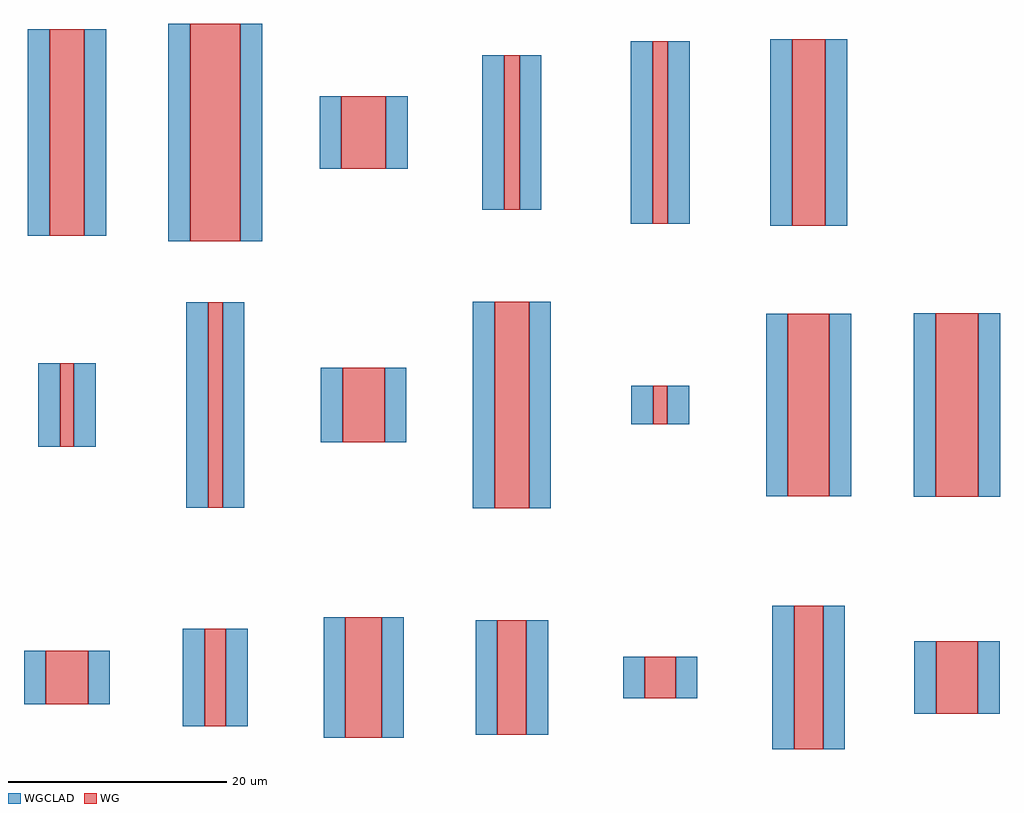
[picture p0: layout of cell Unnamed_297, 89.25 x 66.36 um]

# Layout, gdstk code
from math import pi, radians
import gdstk
lib = gdstk.Library(unit=1e-6, precision=1e-09)
def R(c, l, rs):  # rectangles x0, y0, x1, y1
    for r in rs: c.add(gdstk.rectangle(r[:2], r[2:], *l))
WG = (1, 0)
WGCLAD = (111, 0)

straight_w3030_l17024_lw = lib.new_cell('straight_W3030_L17024_LWG_EWGSTD')
R(straight_w3030_l17024_lw, WG, [(0,-1.515,17.024,1.515)])
R(straight_w3030_l17024_lw, WGCLAD, [(0,-3.515,17.024,-1.515), (0,1.515,17.024,3.515)])

straight_w1398_l16701_lw = lib.new_cell('straight_W1398_L16701_LWG_EWGSTD')
R(straight_w1398_l16701_lw, WG, [(0,-0.699,16.701,0.699)])
R(straight_w1398_l16701_lw, WGCLAD, [(0,-2.699,16.701,-0.699), (0,0.699,16.701,2.699)])

straight_w1392_l14142_lw = lib.new_cell('straight_W1392_L14142_LWG_EWGSTD')
R(straight_w1392_l14142_lw, WG, [(0,-0.696,14.142,0.696)])
R(straight_w1392_l14142_lw, WGCLAD, [(0,-2.696,14.142,-0.696), (0,0.696,14.142,2.696)])

straight_w4060_l6600_lwg = lib.new_cell('straight_W4060_L6600_LWG_EWGSTD')
R(straight_w4060_l6600_lwg, WG, [(0,-2.03,6.6,2.03)])
R(straight_w4060_l6600_lwg, WGCLAD, [(0,-4.03,6.6,-2.03), (0,2.03,6.6,4.03)])

straight_w3194_l18912_lw = lib.new_cell('straight_W3194_L18912_LWG_EWGSTD')
R(straight_w3194_l18912_lw, WG, [(0,-1.597,18.912,1.597)])
R(straight_w3194_l18912_lw, WGCLAD, [(0,-3.597,18.912,-1.597), (0,1.597,18.912,3.597)])

straight_w3882_l16749_lw = lib.new_cell('straight_W3882_L16749_LWG_EWGSTD')
R(straight_w3882_l16749_lw, WG, [(0,-1.941,16.749,1.941)])
R(straight_w3882_l16749_lw, WGCLAD, [(0,-3.941,16.749,-1.941), (0,1.941,16.749,3.941)])

straight_w3318_l10997_lw = lib.new_cell('straight_W3318_L10997_LWG_EWGSTD')
R(straight_w3318_l10997_lw, WG, [(0,-1.659,10.997,1.659)])
R(straight_w3318_l10997_lw, WGCLAD, [(0,-3.659,10.997,-1.659), (0,1.659,10.997,3.659)])

straight_w3792_l6651_lwg = lib.new_cell('straight_W3792_L6651_LWG_EWGSTD')
R(straight_w3792_l6651_lwg, WG, [(0,-1.896,6.651,1.896)])
R(straight_w3792_l6651_lwg, WGCLAD, [(0,-3.896,6.651,-1.896), (0,1.896,6.651,3.896)])

straight_w1264_l7607_lwg = lib.new_cell('straight_W1264_L7607_LWG_EWGSTD')
R(straight_w1264_l7607_lwg, WG, [(0,-0.632,7.607,0.632)])
R(straight_w1264_l7607_lwg, WGCLAD, [(0,-2.632,7.607,-0.632), (0,0.632,7.607,2.632)])

straight_w4564_l19916_lw = lib.new_cell('straight_W4564_L19916_LWG_EWGSTD')
R(straight_w4564_l19916_lw, WG, [(0,-2.282,19.916,2.282)])
R(straight_w4564_l19916_lw, WGCLAD, [(0,-4.282,19.916,-2.282), (0,2.282,19.916,4.282)])

straight_w2792_l3821_lwg = lib.new_cell('straight_W2792_L3821_LWG_EWGSTD')
R(straight_w2792_l3821_lwg, WG, [(0,-1.396,3.821,1.396)])
R(straight_w2792_l3821_lwg, WGCLAD, [(0,-3.396,3.821,-1.396), (0,1.396,3.821,3.396)])

straight_w1944_l8928_lwg = lib.new_cell('straight_W1944_L8928_LWG_EWGSTD')
R(straight_w1944_l8928_lwg, WG, [(0,-0.972,8.928,0.972)])
R(straight_w1944_l8928_lwg, WGCLAD, [(0,-2.972,8.928,-0.972), (0,0.972,8.928,2.972)])

straight_w1330_l18753_lw = lib.new_cell('straight_W1330_L18753_LWG_EWGSTD')
R(straight_w1330_l18753_lw, WG, [(0,-0.665,18.753,0.665)])
R(straight_w1330_l18753_lw, WGCLAD, [(0,-2.665,18.753,-0.665), (0,0.665,18.753,2.665)])

straight_w3822_l6837_lwg = lib.new_cell('straight_W3822_L6837_LWG_EWGSTD')
R(straight_w3822_l6837_lwg, WG, [(0,-1.911,6.837,1.911)])
R(straight_w3822_l6837_lwg, WGCLAD, [(0,-3.911,6.837,-1.911), (0,1.911,6.837,3.911)])

straight_w2654_l10466_lw = lib.new_cell('straight_W2654_L10466_LWG_EWGSTD')
R(straight_w2654_l10466_lw, WG, [(0,-1.327,10.466,1.327)])
R(straight_w2654_l10466_lw, WGCLAD, [(0,-3.327,10.466,-1.327), (0,1.327,10.466,3.327)])

straight_w3144_l18895_lw = lib.new_cell('straight_W3144_L18895_LWG_EWGSTD')
R(straight_w3144_l18895_lw, WG, [(0,-1.572,18.895,1.572)])
R(straight_w3144_l18895_lw, WGCLAD, [(0,-3.572,18.895,-1.572), (0,1.572,18.895,3.572)])

straight_w3860_l4869_lwg = lib.new_cell('straight_W3860_L4869_LWG_EWGSTD')
R(straight_w3860_l4869_lwg, WG, [(0,-1.93,4.869,1.93)])
R(straight_w3860_l4869_lwg, WGCLAD, [(0,-3.93,4.869,-1.93), (0,1.93,4.869,3.93)])

straight_w1288_l3476_lwg = lib.new_cell('straight_W1288_L3476_LWG_EWGSTD')
R(straight_w1288_l3476_lwg, WG, [(0,-0.644,3.476,0.644)])
R(straight_w1288_l3476_lwg, WGCLAD, [(0,-2.644,3.476,-0.644), (0,0.644,3.476,2.644)])

straight_w2660_l13150_lw = lib.new_cell('straight_W2660_L13150_LWG_EWGSTD')
R(straight_w2660_l13150_lw, WG, [(0,-1.33,13.15,1.33)])
R(straight_w2660_l13150_lw, WGCLAD, [(0,-3.33,13.15,-1.33), (0,1.33,13.15,3.33)])

straight_w3780_l16697_lw = lib.new_cell('straight_W3780_L16697_LWG_EWGSTD')
R(straight_w3780_l16697_lw, WG, [(0,-1.89,16.697,1.89)])
R(straight_w3780_l16697_lw, WGCLAD, [(0,-3.89,16.697,-1.89), (0,1.89,16.697,3.89)])

unnamed_297 = lib.new_cell('Unnamed_297')
unnamed_297.add(gdstk.Reference(straight_w3030_l17024_lw, (67.82,53.778), rotation=pi/2))
unnamed_297.add(gdstk.Reference(straight_w1398_l16701_lw, (54.256,53.94), rotation=pi/2))
unnamed_297.add(gdstk.Reference(straight_w1392_l14142_lw, (40.692,55.219), rotation=pi/2))
unnamed_297.add(gdstk.Reference(straight_w4060_l6600_lwg, (27.128,58.99), rotation=pi/2))
unnamed_297.add(gdstk.Reference(straight_w3194_l18912_lw, (0,52.834), rotation=pi/2))
unnamed_297.add(gdstk.Reference(straight_w3882_l16749_lw, (81.384,29), rotation=pi/2))
unnamed_297.add(gdstk.Reference(straight_w3318_l10997_lw, (27.128,6.96), rotation=pi/2))
unnamed_297.add(gdstk.Reference(straight_w3792_l6651_lwg, (81.384,9.133), rotation=pi/2))
unnamed_297.add(gdstk.Reference(straight_w1264_l7607_lwg, (0,33.571), rotation=pi/2))
unnamed_297.add(gdstk.Reference(straight_w4564_l19916_lw, (13.564,52.332), rotation=pi/2))
unnamed_297.add(gdstk.Reference(straight_w2792_l3821_lwg, (54.256,10.548), rotation=pi/2))
unnamed_297.add(gdstk.Reference(straight_w1944_l8928_lwg, (13.564,7.994), rotation=pi/2))
unnamed_297.add(gdstk.Reference(straight_w1330_l18753_lw, (13.564,27.998), rotation=pi/2))
unnamed_297.add(gdstk.Reference(straight_w3822_l6837_lwg, (27.128,33.956), rotation=pi/2))
unnamed_297.add(gdstk.Reference(straight_w2654_l10466_lw, (40.692,7.225), rotation=pi/2))
unnamed_297.add(gdstk.Reference(straight_w3144_l18895_lw, (40.692,27.927), rotation=pi/2))
unnamed_297.add(gdstk.Reference(straight_w3860_l4869_lwg, (0,10.024), rotation=pi/2))
unnamed_297.add(gdstk.Reference(straight_w1288_l3476_lwg, (54.256,35.636), rotation=pi/2))
unnamed_297.add(gdstk.Reference(straight_w2660_l13150_lw, (67.82,5.883), rotation=pi/2))
unnamed_297.add(gdstk.Reference(straight_w3780_l16697_lw, (67.82,29.026), rotation=pi/2))

lib.write_gds('Unnamed_297.gds')
